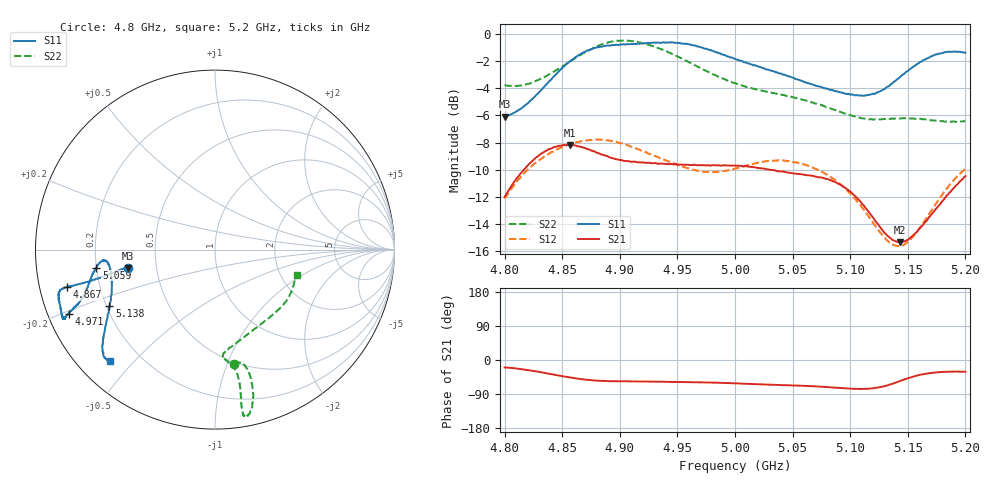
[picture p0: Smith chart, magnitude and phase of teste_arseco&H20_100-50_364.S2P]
! Network Analyzer HP8722D
! Hewlett-Packard
! Data name: Linha & Wilkinson
! Saver's name: Rodrigo Anjos
! Comments: Teste da utilização de aquisição
! continua pelo VNA HP8722D
! Time and date: 6/5/2025 15:36
!  Frequency  S11  S21  S12  S22
# HZ  S  MA R 50
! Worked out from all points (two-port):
!   401 points, 4.8 GHz to 5.2 GHz, reference 50 ohm
!   highest |S21| = -8.16 dB at 4.857 GHz (marker M1); lowest = -15.3 dB at 5.143 GHz (marker M2)
!   |S21| within 3 dB of the highest: 4.806 GHz to 5.093 GHz (286.5 MHz wide, 5.79 % of centre); 5.191726 GHz to end of sweep
!   lowest |S11| = -6.1 dB at 4.8 GHz (marker M3), VSWR 2.97, Z = 17 - j4.6 ohm
!   |S11| at or under -10 dB: nowhere
!   |S22| runs from -6.5 to -0.5 dB; largest |S21 - S12| = 0.62
!   S11 on the Smith chart (normalised r, x): 4.8 GHz: 0.34, -0.09; 4.867 GHz: 0.08, -0.12; 4.971 GHz: 0.06, -0.21; 5.059 GHz: 0.20, -0.07; 5.138 GHz: 0.21, -0.24; 5.2 GHz: 0.09, -0.43
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4.8e9  0.4962 -168.1  0.2513 -19.6  0.248 -140.6  0.6477 -80.4
4.828e9  0.5995 -167.0  0.353 -30.4  0.338 -144.6  0.6745 -75.4
4.857e9  0.7952 -165.9  0.3908 -46.2  0.393 -150.1  0.7913 -74.7
4.867e9  0.849 -165.7  0.3837 -50.7  0.4035 -151.8  0.8422 -75.3
4.899e9  0.9109 -162.7  0.3448 -56.4  0.3981 -156.6  0.9424 -79.0
4.915e9  0.9187 -159.3  0.3374 -56.7  0.3781 -157.0  0.9358 -80.3
4.934e9  0.9279 -156.3  0.3331 -57.5  0.3508 -155.6  0.8842 -80.4
4.953e9  0.9216 -155.3  0.3307 -58.0  0.3262 -152.0  0.8147 -79.8
4.971e9  0.8903 -156.3  0.3289 -59.1  0.3122 -146.4  0.7451 -79.6
5e9  0.8094 -158.9  0.3275 -61.7  0.3197 -137.1  0.6579 -81.2
5.036e9  0.7221 -165.5  0.3133 -65.9  0.3418 -134.3  0.6027 -85.7
5.059e9  0.6685 -171.4  0.304 -68.0  0.3317 -135.9  0.5723 -84.4
5.067e9  0.6527 -172.9  0.3007 -69.1  0.3228 -136.6  0.5606 -82.6
5.087e9  0.6166 -174.4  0.2849 -73.1  0.2897 -138.5  0.5251 -74.9
5.102e9  0.5977 -171.7  0.258 -75.9  0.2534 -138.6  0.4992 -66.0
5.116e9  0.5966 -165.5  0.2216 -75.9  0.2131 -135.5  0.4854 -55.9
5.134e9  0.6434 -154.2  0.1786 -65.3  0.1709 -120.8  0.4865 -43.4
5.138e9  0.6672 -151.9  0.174 -61.2  0.167 -115.7  0.4871 -40.9
5.143e9  0.6914 -149.2  0.1709 -55.9  0.1657 -109.0  0.4882 -38.0
5.154e9  0.7531 -144.4  0.1806 -44.5  0.1788 -95.1  0.4883 -32.4
5.174e9  0.8395 -138.3  0.2264 -32.8  0.236 -80.2  0.4797 -23.8
5.2e9  0.8523 -133.5  0.2998 -31.3  0.319 -76.8  0.4776 -17.5
